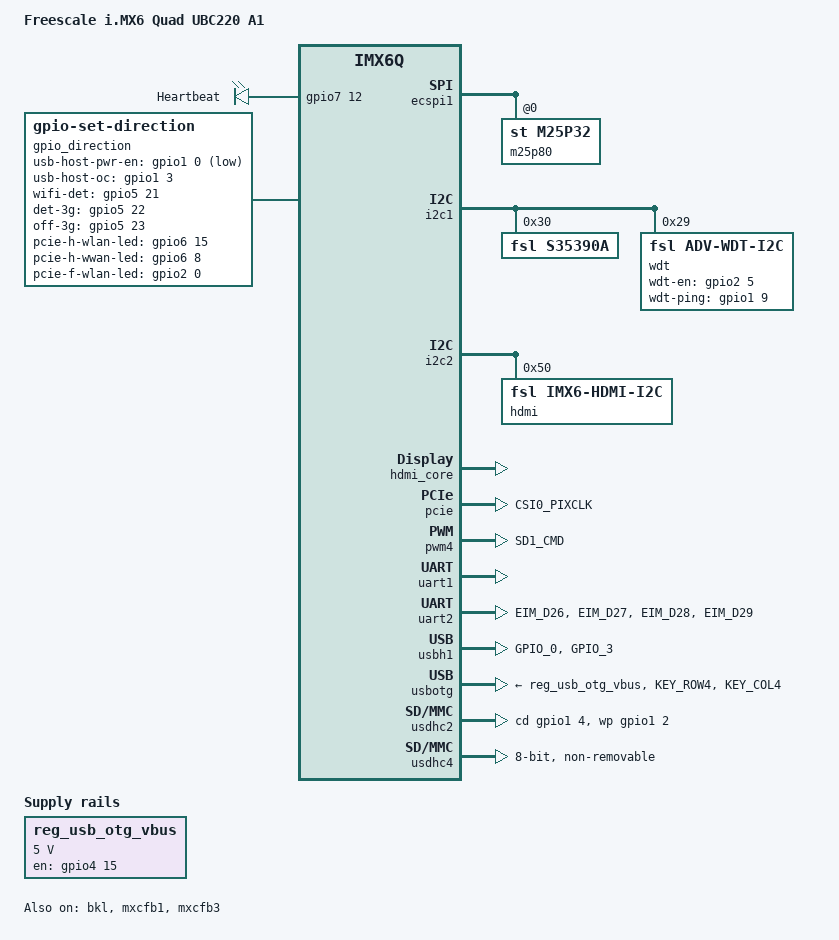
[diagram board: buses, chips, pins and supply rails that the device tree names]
/*
 * Copyright 2012 Freescale Semiconductor, Inc.
 * Copyright 2011 Linaro Ltd.
 *
 * The code contained herein is licensed under the GNU General Public
 * License. You may obtain a copy of the GNU General Public License
 * Version 2 or later at the following locations:
 *
 * http://www.opensource.org/licenses/gpl-license.html
 * http://www.gnu.org/copyleft/gpl.html
 */

/dts-v1/;

#include "imx6q.dtsi"
#include "imx6qdl-advantech.dtsi"

/ {
	model = "Freescale i.MX6 Quad UBC220 A1";
	compatible = "fsl,imx6q-sabresd", "fsl,imx6q";

	board {
		compatible = "proc-board";
		board-type = "UBC-220 A1";
		board-cpu = "DualQuad";
	};

	regulators {

		reg_usb_otg_vbus: usb_otg_vbus {
			compatible = "regulator-fixed";
			regulator-name = "usb_otg_vbus";
			regulator-min-microvolt = <5000000>;
			regulator-max-microvolt = <5000000>;
			gpio = <&gpio4 15  GPIO_ACTIVE_HIGH>;
			enable-active-high;
		};
	};

	leds {
		compatible = "gpio-leds";
		pinctrl-names = "default";
		pinctrl-0 = <&pinctrl_leds_debug_1>;
		debug-led {
			label = "Heartbeat";
			gpios = <&gpio7 12 0>;
			linux,default-trigger = "heartbeat";
		};
	};

	gpio_direction {
		pinctrl-names = "default";
		compatible = "gpio-set-direction";
		usb-host-pwr-en = <&gpio1 0 1>;
		usb-host-oc = <&gpio1 3 0>;
		wifi-det = <&gpio5 21 0>;
		det-3g = <&gpio5 22 0>;
		off-3g = <&gpio5 23 0>;
		pcie-h-wlan-led = <&gpio6 15 0>;
		pcie-h-wwan-led = <&gpio6 8 0>;
		pcie-f-wlan-led = <&gpio2 0 0>;
		pcie-f-wwan-led = <&gpio2 4 0>;
	};
};

&audio_sgtl5000 {
	status = "disabled";
};

&audmux {
	status = "disabled";
};

&bkl {
	lvds-bkl-enable = <&gpio4 6 1>;
	lvds-vcc-enable = <&gpio4 7 1>;
	pwms = <&pwm4 0 5000000>;
	status = "okay";
};

&ecspi1 {
	m25p80@0 {
		compatible = "st,m25p32";
	};
};

&i2c1 {

	s35390a@30 {
		compatible = "fsl,s35390a";
		reg = <0x30>;
	};

	wdt@29 {
		compatible = "fsl,adv-wdt-i2c";
		pinctrl-names = "default";
		pinctrl-0 = <&pinctrl_wdt_en_1 &pinctrl_wdt_ping_1>;
		status = "okay";
		wdt-en = <&gpio2 5 0>;
		wdt-ping = <&gpio1 9 0>;
		reg = <0x29>;
	};
};

&i2c2 {

	hdmi: edid@50 {
		compatible = "fsl,imx6-hdmi-i2c";
		reg = <0x50>;
	};
};

&i2c3 {
	status = "disabled";
};

&iomuxc {
	pinctrl-names = "default";
	pinctrl-0 = <&pinctrl_hog_1 &pinctrl_hog_2>;

	hog {
		pinctrl_hog_1: hoggrp-1 {
			fsl,pins = <
				MX6QDL_PAD_GPIO_2__GPIO1_IO02		0x80000000	/* SD card - SD2_WP */
				MX6QDL_PAD_GPIO_4__GPIO1_IO04		0x80000000	/* SD card - SD2_CD */
				MX6QDL_PAD_EIM_D30__GPIO3_IO30		0x0001B0B0	/* BORAD_ID0 */
				MX6QDL_PAD_EIM_D31__GPIO3_IO31		0x000130B0	/* BORAD_ID1 */
			>;
		};

		pinctrl_hog_2: hoggrp-2 {
			fsl,pins = <
				MX6QDL_PAD_CSI0_VSYNC__GPIO5_IO21	0x0001B0B0	/* WIFI_DET# */
				MX6QDL_PAD_CSI0_DAT4__GPIO5_IO22	0x0001B0B0	/* 3G_DET# */
				MX6QDL_PAD_CSI0_DAT5__GPIO5_IO23	0x0001B0B0	/* 3G_OFF# */
				MX6QDL_PAD_NANDF_CS2__GPIO6_IO15	0x0001B0B0	/* PCIE_H_WLAN_LED# */
				MX6QDL_PAD_NANDF_ALE__GPIO6_IO08	0x0001B0B0	/* PCIE_H_WWAN_LED# */
				MX6QDL_PAD_NANDF_D0__GPIO2_IO00		0x0001B0B0	/* PCIE_F_WLAN_LED# */
				MX6QDL_PAD_NANDF_D4__GPIO2_IO04		0x00017059	/* PCIE_F_WWAN_LED# */
			>;
		};
	};

	leds {
		pinctrl_leds_debug_1: leds_debug1grp-1{
			fsl,pins = <
				MX6QDL_PAD_GPIO_17__GPIO7_IO12		0x80000000	/* gpio - led */
			>;
		};
	};

	pcie {
		pinctrl_pcie_1: pcie1grp-1 {
			fsl,pins = <
				MX6QDL_PAD_CSI0_PIXCLK__GPIO5_IO18	0x80000000	/* PCIE disable pin - WIFI_OFF# */
			>;
		};
	};

	pwm4 {
		pinctrl_pwm4_1: pwm4grp-1 {
			fsl,pins = <
				MX6QDL_PAD_SD1_CMD__PWM4_OUT		0x1b0b1
			>;
		};
	};

	spi1 {
		pinctrl_ecspi1_cs_0: ecspi1_cs_grp-0 {
			fsl,pins = <
				MX6QDL_PAD_EIM_EB2__GPIO2_IO30		0x80000000	/* ECSPI1_CS0 */
			>;
		};
	};

	uart2 {
		pinctrl_uart2_3: uart2grp-3 { /* DCE mode */
			fsl,pins = <
				MX6QDL_PAD_EIM_D26__UART2_TX_DATA		0x1b0b1
				MX6QDL_PAD_EIM_D27__UART2_RX_DATA		0x1b0b1
				MX6QDL_PAD_EIM_D28__UART2_CTS_B			0x1b0b1
				MX6QDL_PAD_EIM_D29__UART2_RTS_B			0x1b0b1
			>;
		};
	};

	usbh1 {
		pinctrl_usbh1_1: usbh1_grp-1 {
			fsl,pins = <
				MX6QDL_PAD_GPIO_0__GPIO1_IO00		0x00017099	/* USB_HOST_PWR_EN */
				MX6QDL_PAD_GPIO_3__GPIO1_IO03		0x0001B8B1	/* USB_HOST_OC# */
			>;
		};
	};

	usbotg {
		pinctrl_usbotg_pwr_1: usbotg_pwr_grp-1 {
			fsl,pins = <
				MX6QDL_PAD_KEY_ROW4__GPIO4_IO15		0x80000000	/* USB_OTG_PWR */
				MX6QDL_PAD_KEY_COL4__GPIO4_IO14		0x0001B0B0	/* USB_OTG_OC */
			>;
		};
	};

	wdt{
		pinctrl_wdt_en_1: wdt_engrp-1 {
			fsl,pins = <
				MX6QDL_PAD_NANDF_D5__GPIO2_IO05		0x80000000
			>;
		};

		pinctrl_wdt_ping_1: wdt_pinggrp-1 {
			fsl,pins = <
				MX6QDL_PAD_GPIO_9__GPIO1_IO09		0x80000000
			>;
		};
	};
};

&ldb {
	lvds-channel@1 {
		status ="disabled";
	};
};

&hdmi_core {
	ipu_id = <0>;
	disp_id = <1>;
	status = "okay";
};


&mxcfb1 {
	status = "okay";
};

&mxcfb3 {
	status = "okay";
};

&pcie {
	pinctrl-names = "default";
	pinctrl-0 = <&pinctrl_pcie_1>;
	disable-gpio = <&gpio5 18 0>;
	status = "okay";
};

&pwm4 {
	pinctrl-names = "default";
	pinctrl-0 = <&pinctrl_pwm4_1>;
	status = "okay";

};

&ssi2 {
	status = "disabled";
};

&uart1 {
	pinctrl-names = "default";
	pinctrl-0 = <&pinctrl_uart1_1>;
	status = "okay";
};

&uart2 {
	pinctrl-names = "default";
	pinctrl-0 = <&pinctrl_uart2_3>;
	fsl,uart-has-rtscts;
	status = "okay";
};

&usbh1 {
	pinctrl-names = "default";
	pinctrl-0 = <&pinctrl_usbh1_1>;
	status = "okay";
};

&usbotg {
	pinctrl-names = "default";
	pinctrl-0 = <&pinctrl_usbotg_1 &pinctrl_usbotg_pwr_1>;
	vbus-supply = <&reg_usb_otg_vbus>;
	imx6-usb-charger-detection;
	status = "okay";
};

&usdhc2 {
	pinctrl-names = "default";
	pinctrl-0 = <&pinctrl_usdhc2_2>;
	cd-gpios = <&gpio1 4 0>;
	wp-gpios = <&gpio1 2 0>;
	no-1-8-v;
	keep-power-in-suspend;
	enable-sdio-wakeup;
	status = "okay";
};

&usdhc4 {
	pinctrl-names = "default";
	pinctrl-0 = <&pinctrl_usdhc4_1>;
	bus-width = <8>;
	non-removable;
	no-1-8-v;
	keep-power-in-suspend;
	status = "okay";
};

